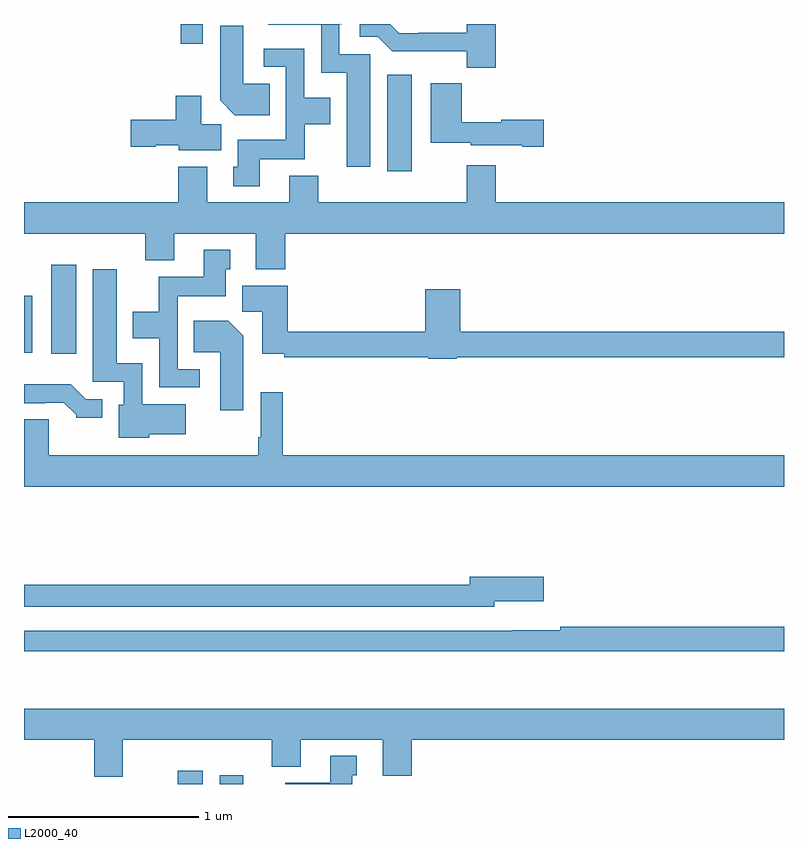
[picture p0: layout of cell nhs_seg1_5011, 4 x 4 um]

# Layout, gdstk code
import gdstk
lib = gdstk.Library(unit=1e-6, precision=1e-09)
def R(c, l, rs):  # rectangles x0, y0, x1, y1
    for r in rs: c.add(gdstk.rectangle(r[:2], r[2:], *l))
def P(c, l, *ps):  # polygons
    for p in ps: c.add(gdstk.Polygon(p, *l))
L2000_40 = (2000, 40)

nhs_seg1_5011 = lib.new_cell('nhs_seg1_5011')
R(nhs_seg1_5011, L2000_40, [(383.81,518.199,383.941,518.269), (384.029,518.199,384.154,518.245), (383.144,520.464,383.275,520.933), (383,520.469,383.044,520.77), (384.911,521.424,385.042,521.932), (383.824,522.096,383.94,522.199)])
P(nhs_seg1_5011, L2000_40, [(385.484,522.199),(385.331,522.199),(385.331,522.153),(385.075,522.153),(385.075,522.15),(384.976,522.15),(384.927,522.199),(384.768,522.199),(384.768,522.132),(384.861,522.132),(384.937,522.056),(385.329,522.056),(385.329,521.969),(385.484,521.969)],
  [(384.823,522.039),(384.66,522.039),(384.66,522.198),(384.673,522.198),(384.673,522.199),(384.285,522.199),(384.285,522.194),(384.564,522.194),(384.564,521.942),(384.698,521.942),(384.698,521.448),(384.823,521.448)],
  [(384.293,521.884),(384.154,521.884),(384.154,522.19),(384.032,522.19),(384.032,521.798),(384.11,521.72),(384.293,521.72)],
  [(384.241,521.486),(384.477,521.486),(384.477,521.672),(384.613,521.672),(384.613,521.812),(384.474,521.812),(384.474,522.069),(384.261,522.069),(384.261,521.973),(384.378,521.973),(384.378,521.59),(384.125,521.59),(384.125,521.448),(384.101,521.448),(384.101,521.346),(384.241,521.346)],
  [(385.735,521.696),(385.512,521.696),(385.512,521.683),(385.304,521.683),(385.304,521.887),(385.142,521.887),(385.142,521.573),(385.35,521.573),(385.35,521.561),(385.622,521.561),(385.622,521.554),(385.735,521.554)],
  [(384.037,521.672),(383.932,521.672),(383.932,521.821),(383.798,521.821),(383.798,521.696),(383.562,521.696),(383.562,521.554),(383.694,521.554),(383.694,521.561),(383.814,521.561),(383.814,521.534),(384.037,521.534)],
  [(384.374,521.096),(387,521.096),(387,521.26),(385.484,521.26),(385.484,521.455),(385.331,521.455),(385.331,521.26),(384.548,521.26),(384.548,521.401),(384.395,521.401),(384.395,521.26),(383.965,521.26),(383.965,521.449),(383.813,521.449),(383.813,521.26),(383,521.26),(383,521.096),(383.639,521.096),(383.639,520.955),(383.791,520.955),(383.791,521.096),(384.221,521.096),(384.221,520.907),(384.374,520.907)],
  [(383.926,520.383),(383.808,520.383),(383.808,520.766),(384.061,520.766),(384.061,520.908),(384.085,520.908),(384.085,521.011),(383.945,521.011),(383.945,520.87),(383.71,520.87),(383.71,520.684),(383.573,520.684),(383.573,520.544),(383.712,520.544),(383.712,520.287),(383.926,520.287)],
  [(383.658,520.04),(383.851,520.04),(383.851,520.198),(383.622,520.198),(383.622,520.414),(383.488,520.414),(383.488,520.909),(383.363,520.909),(383.363,520.317),(383.526,520.317),(383.526,520.194),(383.498,520.194),(383.498,520.022),(383.658,520.022)],
  [(385.278,520.444),(387,520.444),(387,520.58),(385.295,520.58),(385.295,520.804),(385.112,520.804),(385.112,520.58),(384.389,520.58),(384.389,520.822),(384.149,520.822),(384.149,520.684),(384.254,520.684),(384.254,520.463),(384.37,520.463),(384.37,520.444),(385.128,520.444),(385.128,520.436),(385.278,520.436)],
  [(384.154,520.558),(384.076,520.636),(383.893,520.636),(383.893,520.472),(384.032,520.472),(384.032,520.167),(384.154,520.167)],
  [(383.413,520.224),(383.325,520.224),(383.247,520.303),(383,520.303),(383,520.203),(383.111,520.203),(383.111,520.206),(383.21,520.206),(383.274,520.142),(383.274,520.127),(383.413,520.127)],
  [(387,519.928),(384.362,519.928),(384.362,520.261),(384.246,520.261),(384.246,520.024),(384.234,520.024),(384.234,519.928),(383.131,519.928),(383.131,520.118),(383,520.118),(383,519.764),(387,519.764)],
  [(385.474,519.161),(385.735,519.161),(385.735,519.291),(385.346,519.291),(385.346,519.248),(383,519.248),(383,519.132),(385.474,519.132)],
  [(387,519.026),(385.822,519.026),(385.822,519.007),(385.57,519.007),(385.57,519.006),(383,519.006),(383,518.898),(387,518.898)],
  [(383.521,518.432),(384.305,518.432),(384.305,518.291),(384.457,518.291),(384.457,518.432),(384.887,518.432),(384.887,518.243),(385.04,518.243),(385.04,518.432),(387,518.432),(387,518.596),(383,518.596),(383,518.432),(383.369,518.432),(383.369,518.238),(383.521,518.238)],
  [(384.727,518.244),(384.751,518.244),(384.751,518.347),(384.611,518.347),(384.611,518.206),(384.376,518.206),(384.376,518.199),(384.727,518.199)])

lib.write_gds('nhs_seg1_5011.gds')
